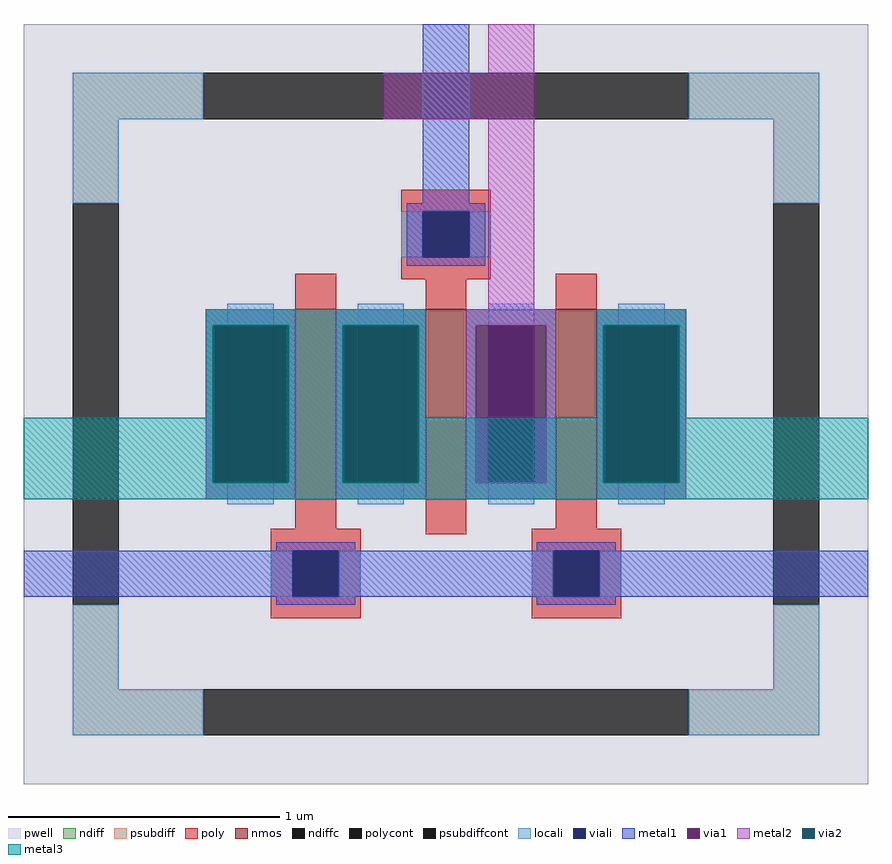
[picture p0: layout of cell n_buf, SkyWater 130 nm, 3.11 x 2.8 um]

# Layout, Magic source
magic
tech sky130A
magscale 1 2
<< pwell >>
rect -311 -280 311 280
<< nmos >>
rect -111 -70 -81 70
rect -15 -70 15 70
rect 81 -70 111 70
<< ndiff >>
rect -177 58 -111 70
rect -177 -58 -161 58
rect -127 -58 -111 58
rect -177 -70 -111 -58
rect -81 58 -15 70
rect -81 -58 -65 58
rect -31 -58 -15 58
rect -81 -70 -15 -58
rect 15 58 81 70
rect 15 -58 31 58
rect 65 -58 81 58
rect 15 -70 81 -58
rect 111 58 177 70
rect 111 -58 127 58
rect 161 -58 177 58
rect 111 -70 177 -58
<< ndiffc >>
rect -161 -58 -127 58
rect -65 -58 -31 58
rect 31 -58 65 58
rect 127 -58 161 58
<< psubdiff >>
rect -275 210 -179 244
rect 179 210 275 244
rect -275 148 -241 210
rect 241 148 275 210
rect -275 -210 -241 -148
rect 241 -210 275 -148
rect -275 -244 -179 -210
rect 179 -244 275 -210
<< psubdiffcont >>
rect -179 210 179 244
rect -275 -148 -241 148
rect 241 -148 275 148
rect -179 -244 179 -210
<< poly >>
rect -33 142 33 158
rect -33 108 -17 142
rect 17 108 33 142
rect -111 70 -81 96
rect -33 92 33 108
rect -15 70 15 92
rect 81 70 111 96
rect -111 -92 -81 -70
rect -129 -108 -63 -92
rect -15 -96 15 -70
rect 81 -92 111 -70
rect -129 -142 -113 -108
rect -79 -142 -63 -108
rect -129 -158 -63 -142
rect 63 -108 129 -92
rect 63 -142 79 -108
rect 113 -142 129 -108
rect 63 -158 129 -142
<< polycont >>
rect -17 108 17 142
rect -113 -142 -79 -108
rect 79 -142 113 -108
<< locali >>
rect -275 210 -179 244
rect 179 210 275 244
rect -275 148 -241 210
rect 241 148 275 210
rect -33 108 -17 142
rect 17 108 33 142
rect -161 58 -127 74
rect -161 -74 -127 -58
rect -65 58 -31 74
rect -65 -74 -31 -58
rect 31 58 65 74
rect 31 -74 65 -58
rect 127 58 161 74
rect 127 -74 161 -58
rect -129 -142 -113 -108
rect -79 -142 -63 -108
rect 63 -142 79 -108
rect 113 -142 129 -108
rect -275 -210 -241 -148
rect 241 -210 275 -148
rect -275 -244 -179 -210
rect 179 -244 275 -210
<< viali >>
rect -17 108 17 142
rect -161 -58 -127 58
rect -65 -58 -31 58
rect 31 -58 65 58
rect 127 -58 161 58
rect -113 -142 -79 -108
rect 79 -142 113 -108
<< metal1 >>
rect -17 148 17 280
rect -29 142 29 148
rect -29 108 -17 142
rect 17 108 29 142
rect -29 102 29 108
rect -177 58 -111 70
rect -177 -58 -170 58
rect -118 -58 -111 58
rect -177 -70 -111 -58
rect -81 58 -15 70
rect -81 -58 -74 58
rect -22 -58 -15 58
rect -81 -70 -15 -58
rect 15 58 81 70
rect 15 -58 22 58
rect 74 -58 81 58
rect 15 -70 81 -58
rect 111 58 177 70
rect 111 -58 118 58
rect 170 -58 177 58
rect 111 -70 177 -58
rect -125 -108 -67 -102
rect 67 -108 125 -102
rect -311 -142 -113 -108
rect -79 -142 79 -108
rect 113 -142 311 -108
rect -125 -148 -67 -142
rect 67 -148 125 -142
<< via1 >>
rect -170 -58 -161 58
rect -161 -58 -127 58
rect -127 -58 -118 58
rect -74 -58 -65 58
rect -65 -58 -31 58
rect -31 -58 -22 58
rect 22 -58 31 58
rect 31 -58 65 58
rect 65 -58 74 58
rect 118 -58 127 58
rect 127 -58 161 58
rect 161 -58 170 58
<< metal2 >>
rect 31 244 65 280
rect -46 210 65 244
rect 31 70 65 210
rect -177 58 -111 70
rect -177 -58 -172 58
rect -116 -58 -111 58
rect -177 -70 -111 -58
rect -81 58 -15 70
rect -81 -58 -76 58
rect -20 -58 -15 58
rect -81 -70 -15 -58
rect 15 58 81 70
rect 15 -58 22 58
rect 74 -58 81 58
rect 15 -70 81 -58
rect 111 58 177 70
rect 111 -58 116 58
rect 172 -58 177 58
rect 111 -70 177 -58
<< via2 >>
rect -172 -58 -170 58
rect -170 -58 -118 58
rect -118 -58 -116 58
rect -76 -58 -74 58
rect -74 -58 -22 58
rect -22 -58 -20 58
rect 116 -58 118 58
rect 118 -58 170 58
rect 170 -58 172 58
<< metal3 >>
rect -177 58 -15 70
rect -177 -10 -172 58
rect -311 -58 -172 -10
rect -116 -58 -76 58
rect -20 -10 -15 58
rect 111 58 177 70
rect 111 -10 116 58
rect -20 -58 116 -10
rect 172 -10 177 58
rect 172 -58 311 -10
rect -311 -70 311 -58
<< properties >>
string FIXED_BBOX -258 -227 258 227
string gencell sky130_fd_pr__nfet_01v8
string library sky130
string parameters w 0.7 l 0.150 m 1 nf 3 diffcov 100 polycov 100 guard 1 glc 1 grc 1 gtc 1 gbc 1 tbcov 100 rlcov 100 topc 1 botc 1 poverlap 0 doverlap 1 lmin 0.15 wmin 0.42 compatible {sky130_fd_pr__nfet_01v8 sky130_fd_pr__nfet_01v8_lvt  sky130_fd_bs_flash__special_sonosfet_star  sky130_fd_pr__nfet_g5v0d10v5 sky130_fd_pr__nfet_05v0_nvt  sky130_fd_pr__nfet_03v3_nvt} full_metal 1 viasrc 100 viadrn 100 viagate 100 viagb 0 viagr 0 viagl 0 viagt 0
<< end >>
